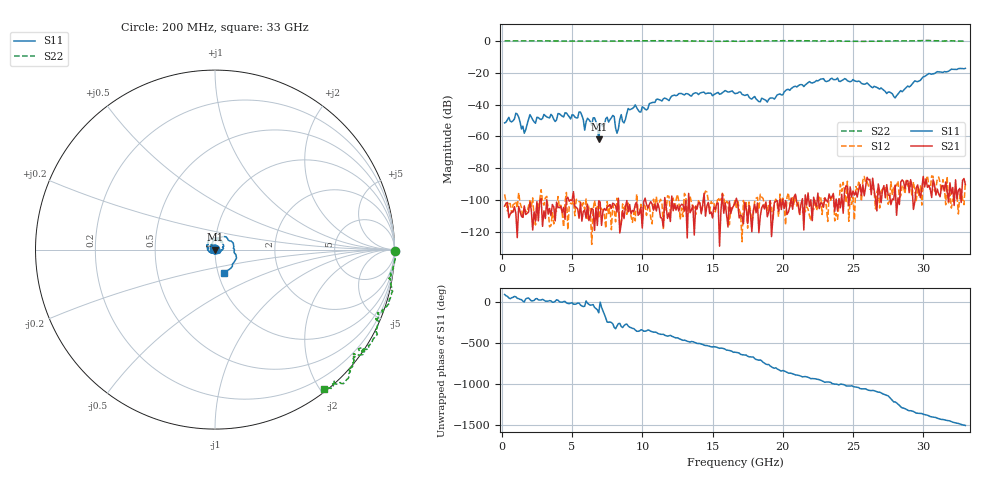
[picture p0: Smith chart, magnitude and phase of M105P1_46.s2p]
# GHZ S RI R 50
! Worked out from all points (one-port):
!   329 points, 200 MHz to 33 GHz, reference 50 ohm
!   lowest |S11| = -61.9 dB at 6.9 GHz (marker M1), VSWR 1.00, Z = 49.9 - j0.0555 ohm
!   |S11| at or under -10 dB: start of sweep to end of sweep
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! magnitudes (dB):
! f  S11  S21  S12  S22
! 200 MHz  -51.6  -103.9  -96.5  0.0
! 1 GHz  -45.5  -108.4  -100.8  0.0
! 1.6 GHz  -58.1  -103.7  -105.5  0.0
! 2 GHz  -46.4  -101.4  -100.5  0.1
! 2.4 GHz  -51.8  -113.4  -115.7  0.0
! 5.7 GHz  -46.8  -113.3  -104.5  -0.1
! 5.9 GHz  -56.1  -106.4  -106.1  -0.1
! 6.6 GHz  -48.4  -119.2  -100.2  -0.1
! 6.9 GHz  -61.9  -100.6  -111.6  -0.1
! 7 GHz  -54.1  -101.3  -102.7  -0.1
! 7.5 GHz  -48.0  -104.7  -101.0  -0.1
! 8 GHz  -47.6  -102.6  -106.4  0.0
! 8.2 GHz  -58.0  -107.6  -99.0  0.0
! 8.5 GHz  -46.4  -115.0  -114.9  0.0
! 8.7 GHz  -51.6  -111.8  -105.9  0.0
! 9 GHz  -42.5  -107.5  -102.0  0.0
! 11.2 GHz  -36.9  -105.2  -101.9  0.1
! 16.6 GHz  -33.1  -102.0  -99.9  -0.2
! 18.9 GHz  -38.5  -110.6  -106.6  0.0
! 22.1 GHz  -26.5  -113.1  -106.1  0.1
! 27.6 GHz  -32.1  -97.1  -100.6  -0.1
! 33 GHz  -17.2  -90.4  -88.3  -0.1
